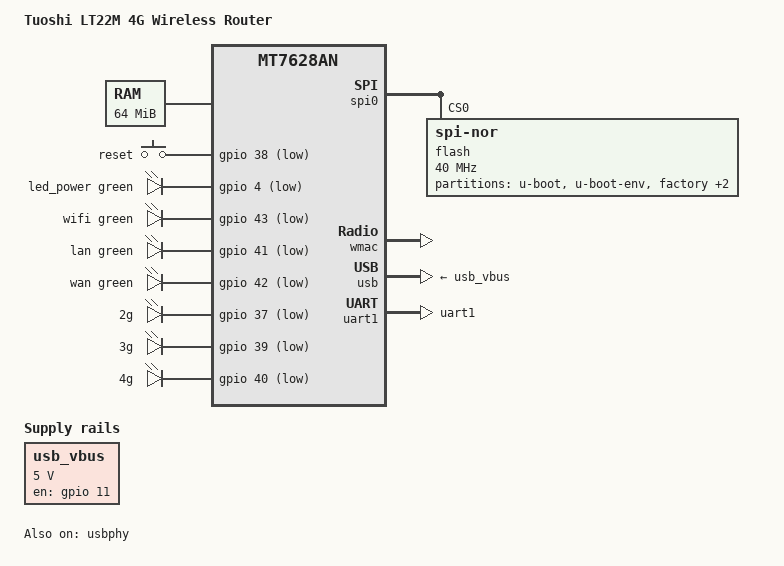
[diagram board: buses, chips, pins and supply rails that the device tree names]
dts-v1/;

#include "mt7628an.dtsi"

#include <dt-bindings/gpio/gpio.h>
#include <dt-bindings/input/input.h>
#include <dt-bindings/leds/common.h>

/ {
	compatible = "tuoshi,lt22m", "mediatek,mt7628an-soc";
	model = "Tuoshi LT22M 4G Wireless Router";

	aliases {
		led-boot = &led_power;
		led-failsafe = &led_power;
		led-running = &led_power;
		led-upgrade = &led_power;
	};

	chosen {
		bootargs = "console=ttyS0,57600";
	};

	memory@0 {
		device_type = "memory";
		reg = <0x0 0x4000000>;	/* 64 MiB */
	};

	keys {
		compatible = "gpio-keys";

		reset {
			label = "reset";
			gpios = <&gpio 38 GPIO_ACTIVE_LOW>;
			linux,code = <KEY_RESTART>;
		};
	};

	leds {
		compatible = "gpio-leds";

		led_power: power {
			function = LED_FUNCTION_POWER;
			color = <LED_COLOR_ID_GREEN>;
			gpios = <&gpio 4 GPIO_ACTIVE_LOW>;
		};

		wifi {
			function = LED_FUNCTION_WLAN;
			color = <LED_COLOR_ID_GREEN>;
			gpios = <&gpio 43 GPIO_ACTIVE_LOW>;
			linux,default-trigger = "phy0radio";
		};

		lan {
			function = LED_FUNCTION_LAN;
			color = <LED_COLOR_ID_GREEN>;
			gpios = <&gpio 41 GPIO_ACTIVE_LOW>;
		};

		wan {
			function = LED_FUNCTION_WAN;
			color = <LED_COLOR_ID_GREEN>;
			gpios = <&gpio 42 GPIO_ACTIVE_LOW>;
		};

		led_2g: lte-2g {
			label = "2g";
			gpios = <&gpio 37 GPIO_ACTIVE_LOW>;
		};

		led_3g: lte-3g {
			label = "3g";
			gpios = <&gpio 39 GPIO_ACTIVE_LOW>;
		};

		led_4g: lte-4g {
			label = "4g";
			gpios = <&gpio 40 GPIO_ACTIVE_LOW>;
		};
	};

	usb_vbus: regulator-usb {
		compatible = "regulator-fixed";
		regulator-name = "usb_vbus";
		regulator-min-microvolt = <5000000>;
		regulator-max-microvolt = <5000000>;
		gpio = <&gpio 11 GPIO_ACTIVE_HIGH>;
		enable-active-high;
	};
};

&state_default {
	gpio {
		groups = "i2c", "refclk", "wdt", "wled_an", "uart1", "p0led_an",
			 "p1led_an", "p2led_an", "p3led_an", "p4led_an";
		function = "gpio";
	};
};

&pinctrl {
	uart1_pins: uart1 {
		groups = "uart1";
		function = "uart1";
	};
};

&spi0 {
	status = "okay";

	flash@0 {
		compatible = "jedec,spi-nor";
		reg = <0>;
		spi-max-frequency = <40000000>;

		partitions {
			compatible = "fixed-partitions";
			#address-cells = <1>;
			#size-cells = <1>;

			partition@0 {
				label = "u-boot";
				reg = <0x0 0x30000>;
				read-only;
			};

			partition@30000 {
				label = "u-boot-env";
				reg = <0x30000 0x10000>;
			};

			partition@40000 {
				label = "factory";
				reg = <0x40000 0x10000>;
				read-only;

				nvmem-layout {
					compatible = "fixed-layout";
					#address-cells = <1>;
					#size-cells = <1>;

					eeprom_factory_0: eeprom@0 {
						reg = <0x0 0x400>;
					};

					macaddr_factory_28: macaddr@28 {
						compatible = "mac-base";
						reg = <0x28 0x6>;
						#nvmem-cell-cells = <1>;
					};
				};
			};

			partition@50000 {
				compatible = "denx,uimage";
				label = "firmware";
				reg = <0x50000 0xf70000>;	/* 15.44 MiB */
			};

			partition@fc0000 {
				label = "stock-storage";
				reg = <0xfc0000 0x40000>;
				read-only;
			};
		};
	};
};

&ethernet {
	nvmem-cells = <&macaddr_factory_28 0>;
	nvmem-cell-names = "mac-address";

	port@0 {
		reg = <0>;
		label = "lan1";
	};

	port@1 {
		reg = <1>;
		label = "wan0";
	};
};

&esw {
	mediatek,portmap = <0x2>;	/* LAN0+LAN1 -> switch, WAN отдельно */
};

&wmac {
	status = "okay";
	nvmem-cells = <&eeprom_factory_0>;
	nvmem-cell-names = "eeprom";
};

&usb {
	status = "okay";
	vbus-supply = <&usb_vbus>;
};

&usbphy {
	status = "okay";
};

&uart1 {
	status = "okay";
	pinctrl-names = "default";
	pinctrl-0 = <&uart1_pins>;
};
